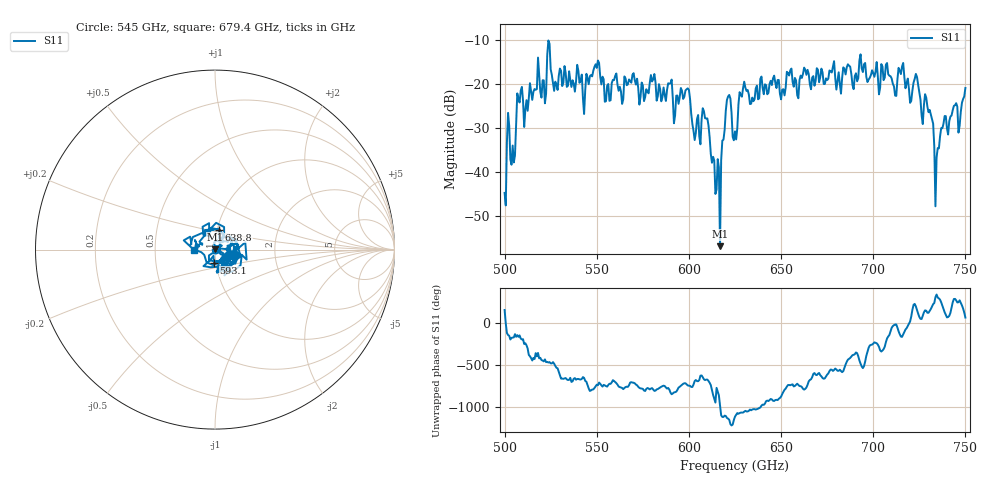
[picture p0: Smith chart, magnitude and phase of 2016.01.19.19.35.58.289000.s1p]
!Created with skrf (http://scikit-rf.org).
# GHz S RI R 50.0
!freq ReS11 ImS11
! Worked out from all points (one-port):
!   401 points, 500 GHz to 750 GHz, reference 50 ohm
!   lowest |S11| = -56.9 dB at 616.9 GHz (marker M1), VSWR 1.00, Z = 50 + j0.137 ohm
!   |S11| at or under -10 dB: start of sweep to end of sweep
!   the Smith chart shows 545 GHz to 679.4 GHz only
!   S11 on the Smith chart (normalised r, x): 545 GHz: 1.25, -0.08; 593.1 GHz: 0.98, -0.14; 638.8 GHz: 1.02, +0.23; 679.4 GHz: 0.79, -0.00
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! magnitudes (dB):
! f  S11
! 500 GHz  -44.8
! 502.5 GHz  -29.6
! 504.4 GHz  -34.0
! 508.1 GHz  -24.2
! 521.2 GHz  -19.2
! 524.4 GHz  -10.8
! 527.5 GHz  -19.5
! 531.2 GHz  -20.5
! 545 GHz  -18.7
! 562.5 GHz  -20.6
! 580.6 GHz  -19.0
! 593.1 GHz  -22.7
! 593.8 GHz  -22.6
! 608.8 GHz  -27.8
! 615.6 GHz  -37.1
! 616.9 GHz  -56.9
! 621.2 GHz  -22.9
! 625 GHz  -30.8
! 628.8 GHz  -22.9
! 638.8 GHz  -18.8
! 656.2 GHz  -19.6
! 679.4 GHz  -18.6
! 687.5 GHz  -16.1
! 718.8 GHz  -18.8
! 729.4 GHz  -25.2
! 734.4 GHz  -36.7
! 738.1 GHz  -29.0
! 750 GHz  -20.9
